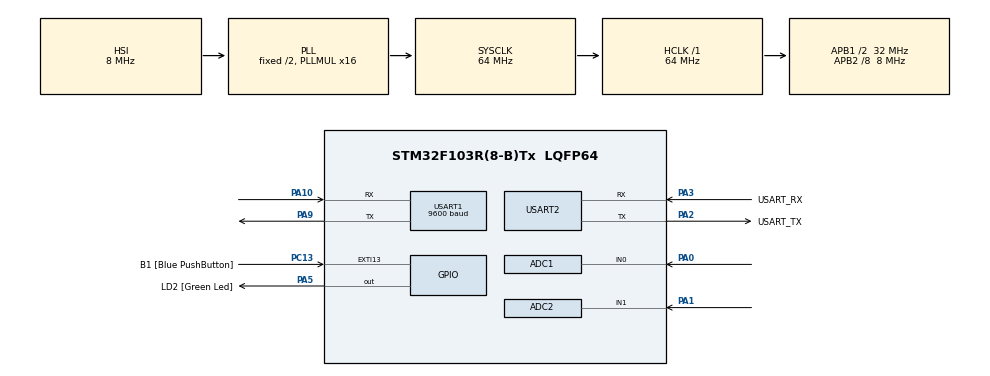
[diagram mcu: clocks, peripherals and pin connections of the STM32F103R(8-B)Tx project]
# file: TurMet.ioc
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ADC1.Channel-0\#ChannelRegularConversion=ADC_CHANNEL_0
ADC1.ContinuousConvMode=ENABLE
ADC1.NbrOfConversionFlag=1
ADC1.Rank-0\#ChannelRegularConversion=1
ADC1.SamplingTime-0\#ChannelRegularConversion=ADC_SAMPLETIME_1CYCLE_5
ADC1.master=1
ADC2.Channel-0\#ChannelRegularConversion=ADC_CHANNEL_1
ADC2.ContinuousConvMode=ENABLE
ADC2.NbrOfConversionFlag=1
ADC2.Rank-0\#ChannelRegularConversion=1
ADC2.SamplingTime-0\#ChannelRegularConversion=ADC_SAMPLETIME_1CYCLE_5
Mcu.Family=STM32F1
Mcu.Name=STM32F103R(8-B)Tx
Mcu.Package=LQFP64
NVIC.ADC1_2_IRQn=true\:0\:0\:false
NVIC.PriorityGroup=NVIC_PRIORITYGROUP_4
NVIC.USART1_IRQn=true\:0\:0\:false
PA0-WKUP.Signal=ADCx_IN0
PA1.Signal=ADCx_IN1
PA10.Mode=Asynchronous
PA10.Signal=USART1_RX
PA13.GPIO_Label=TMS
PA13.Mode=Trace_Asynchronous_SW
PA13.Signal=SYS_JTMS-SWDIO
PA14.GPIO_Label=TCK
PA14.Mode=Trace_Asynchronous_SW
PA14.Signal=SYS_JTCK-SWCLK
PA2.GPIO_Label=USART_TX
PA2.GPIO_Mode=GPIO_MODE_AF_PP
PA2.GPIO_PuPd=GPIO_NOPULL
PA2.GPIO_Speed=GPIO_SPEED_LOW
PA2.Mode=Asynchronous
PA2.Signal=USART2_TX
PA3.GPIO_Label=USART_RX
PA3.GPIO_Mode=GPIO_MODE_AF_PP
PA3.GPIO_PuPd=GPIO_NOPULL
PA3.GPIO_Speed=GPIO_SPEED_LOW
PA3.Mode=Asynchronous
PA3.Signal=USART2_RX
PA5.GPIO_Label=LD2 [Green Led]
PA5.GPIO_ModeDefaultOutputPP=GPIO_MODE_OUTPUT_PP
PA5.GPIO_PuPd=GPIO_NOPULL
PA5.GPIO_Speed=GPIO_SPEED_LOW
PA5.Signal=GPIO_Output
PA9.Mode=Asynchronous
PA9.Signal=USART1_TX
PB3.GPIO_Label=SWO
PB3.Mode=Trace_Asynchronous_SW
PB3.Signal=SYS_JTDO-TRACESWO
PC13-TAMPER-RTC.GPIO_Label=B1 [Blue PushButton]
PC13-TAMPER-RTC.GPIO_ModeDefaultEXTI=GPIO_MODE_EVT_RISING
PC13-TAMPER-RTC.GPIO_PuPd=GPIO_NOPULL
PC13-TAMPER-RTC.Signal=GPXTI13
PC14-OSC32_IN.Signal=RCC_OSC32_IN
PC15-OSC32_OUT.Signal=RCC_OSC32_OUT
PD0-OSC_IN.Signal=RCC_OSC_IN
PD1-OSC_OUT.Signal=RCC_OSC_OUT
ProjectManager.TargetToolchain=MDK-ARM V5
RCC.AHBFreq_Value=64000000
RCC.APB1CLKDivider=RCC_HCLK_DIV2
RCC.APB1Freq_Value=32000000
RCC.APB1TimFreq_Value=64000000
RCC.APB2CLKDivider=RCC_HCLK_DIV8
RCC.APB2Freq_Value=8000000
RCC.APB2TimFreq_Value=16000000
RCC.HCLKFreq_Value=64000000
RCC.PLLMUL=RCC_PLL_MUL16
RCC.SYSCLKFreq_VALUE=64000000
RCC.SYSCLKSource=RCC_SYSCLKSOURCE_PLLCLK
RCC.USBFreq_Value=64000000
SH.ADCx_IN0.0=ADC1_IN0,IN0
SH.ADCx_IN1.0=ADC2_IN1,IN1
USART1.BaudRate=9600
VP_IWDG_VS_IWDG.Mode=IWDG_Activate
board=NUCLEO-F103RB

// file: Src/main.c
/**
  ******************************************************************************
  * File Name          : main.c
  * Description        : Main program body
  ******************************************************************************
  *
  * COPYRIGHT(c) 2015 STMicroelectronics
  *
  * Redistribution and use in source and binary forms, with or without modification,
  * are permitted provided that the following conditions are met:
  *   1. Redistributions of source code must retain the above copyright notice,
  *      this list of conditions and the following disclaimer.
  *   2. Redistributions in binary form must reproduce the above copyright notice,
  *      this list of conditions and the following disclaimer in the documentation
  *      and/or other materials provided with the distribution.
  *   3. Neither the name of STMicroelectronics nor the names of its contributors
  *      may be used to endorse or promote products derived from this software
  *      without specific prior written permission.
  *
  * THIS SOFTWARE IS PROVIDED BY THE COPYRIGHT HOLDERS AND CONTRIBUTORS "AS IS"
  * AND ANY EXPRESS OR IMPLIED WARRANTIES, INCLUDING, BUT NOT LIMITED TO, THE
  * IMPLIED WARRANTIES OF MERCHANTABILITY AND FITNESS FOR A PARTICULAR PURPOSE ARE
  * DISCLAIMED. IN NO EVENT SHALL THE COPYRIGHT HOLDER OR CONTRIBUTORS BE LIABLE
  * FOR ANY DIRECT, INDIRECT, INCIDENTAL, SPECIAL, EXEMPLARY, OR CONSEQUENTIAL
  * DAMAGES (INCLUDING, BUT NOT LIMITED TO, PROCUREMENT OF SUBSTITUTE GOODS OR
  * SERVICES; LOSS OF USE, DATA, OR PROFITS; OR BUSINESS INTERRUPTION) HOWEVER
  * CAUSED AND ON ANY THEORY OF LIABILITY, WHETHER IN CONTRACT, STRICT LIABILITY,
  * OR TORT (INCLUDING NEGLIGENCE OR OTHERWISE) ARISING IN ANY WAY OUT OF THE USE
  * OF THIS SOFTWARE, EVEN IF ADVISED OF THE POSSIBILITY OF SUCH DAMAGE.
  *
  ******************************************************************************
  */
#include "stm32f1xx_hal.h"
#include "adc.h"
#include "iwdg.h"
#include "usart.h"
#include "gpio.h"
#include <string.h>

/* USER CODE BEGIN Includes */
#include "C:\Users\Impulse\Documents\TurMet\MDK-ARM\globalvariables.h"
/* USER CODE END Includes */

/* USER CODE BEGIN PV */
/* Private variables ---------------------------------------------------------*/

/* USER CODE END PV */

void SystemClock_Config(void);

/* USER CODE BEGIN PFP */
/* Private function prototypes -----------------------------------------------*/

/* USER CODE END PFP */

/* USER CODE BEGIN 0 */
void sendLog(uint8_t* message)
{
	HAL_UART_Transmit(&huart2, message, strlen(message), 10);
}

void sendBT(uint8_t* message)
{
	HAL_UART_Transmit(&huart1, message, strlen(message), 10);
}

char *itoa(int i)
{
  static char buffer[12];

  if (snprintf(buffer, sizeof(buffer), "%d", i) < 0)
    return NULL;

  return buffer;
}

/* USER CODE END 0 */

int main(void)
{

  /* USER CODE BEGIN 1 */
	//																					---INITIALIZING GLOBAL VARIABLES---

	unsigned char messageBuffer[10] = {0};
  /* USER CODE END 1 */

  /* MCU Configuration----------------------------------------------------------*/

  /* Reset of all peripherals, Initializes the Flash interface and the Systick. */
  HAL_Init();

  /* Configure the system clock */
  SystemClock_Config();

  /* Initialize all configured peripherals */
  MX_GPIO_Init();
  MX_ADC1_Init();
  MX_ADC2_Init();
  MX_IWDG_Init();
  MX_USART1_UART_Init();
  MX_USART2_UART_Init();

	sendLog("Ready\r\n");
	sendBT("Ready\r\n");
  /* USER CODE BEGIN 2 */
	//																									---ENABLING ADC , USART AND WATCHDOG---
	HAL_ADC_Start_IT(&hadc1);
	HAL_ADC_Start_IT(&hadc2);
	HAL_UART_Receive_IT(&huart1, messageBuffer, 10);
	HAL_IWDG_Start(&hiwdg);

  /* USER CODE END 2 */
	sendLog("ADC activated\r\n");
  /* Infinite loop */
  /* USER CODE BEGIN WHILE */
  while (1)
  {

		HAL_IWDG_Refresh(&hiwdg);
		HAL_Delay(200);
		HAL_IWDG_Refresh(&hiwdg);
		HAL_Delay(200);
		HAL_ADC_Stop_IT(&hadc1);
		HAL_ADC_Stop_IT(&hadc2);
  /* USER CODE END WHILE */

  /* USER CODE BEGIN 3 */
		HAL_IWDG_Refresh(&hiwdg);
		while(!activated)
		{
			HAL_IWDG_Refresh(&hiwdg);
			HAL_Delay(10);
		}
		sendLog("A -> ");
		sendLog(itoa(averageA()));
		sendLog(" B -> ");
		sendLog(itoa(averageB()));
		sendLog("       \r\n");
		HAL_IWDG_Refresh(&hiwdg);
		sendBT("A -> ");
		sendBT(itoa(averageA()));
		sendBT(" B -> ");
		sendBT(itoa(averageB()));
		sendBT("       \r\n");

		HAL_IWDG_Refresh(&hiwdg);
		HAL_ADC_Start_IT(&hadc1);
		HAL_ADC_Start_IT(&hadc2);

  }
  /* USER CODE END 3 */

}

/** System Clock Configuration
*/
void SystemClock_Config(void)
{

  RCC_OscInitTypeDef RCC_OscInitStruct;
  RCC_ClkInitTypeDef RCC_ClkInitStruct;
  RCC_PeriphCLKInitTypeDef PeriphClkInit;

  RCC_OscInitStruct.OscillatorType = RCC_OSCILLATORTYPE_HSI|RCC_OSCILLATORTYPE_LSI;
  RCC_OscInitStruct.HSIState = RCC_HSI_ON;
  RCC_OscInitStruct.HSICalibrationValue = 16;
  RCC_OscInitStruct.LSIState = RCC_LSI_ON;
  RCC_OscInitStruct.PLL.PLLState = RCC_PLL_ON;
  RCC_OscInitStruct.PLL.PLLSource = RCC_PLLSOURCE_HSI_DIV2;
  RCC_OscInitStruct.PLL.PLLMUL = RCC_PLL_MUL16;
  HAL_RCC_OscConfig(&RCC_OscInitStruct);

  RCC_ClkInitStruct.ClockType = RCC_CLOCKTYPE_SYSCLK|RCC_CLOCKTYPE_PCLK1
                              |RCC_CLOCKTYPE_PCLK2;
  RCC_ClkInitStruct.SYSCLKSource = RCC_SYSCLKSOURCE_PLLCLK;
  RCC_ClkInitStruct.AHBCLKDivider = RCC_SYSCLK_DIV1;
  RCC_ClkInitStruct.APB1CLKDivider = RCC_HCLK_DIV2;
  RCC_ClkInitStruct.APB2CLKDivider = RCC_HCLK_DIV8;
  HAL_RCC_ClockConfig(&RCC_ClkInitStruct, FLASH_LATENCY_2);

  PeriphClkInit.PeriphClockSelection = RCC_PERIPHCLK_ADC;
  PeriphClkInit.AdcClockSelection = RCC_ADCPCLK2_DIV2;
  HAL_RCCEx_PeriphCLKConfig(&PeriphClkInit);

  HAL_SYSTICK_Config(HAL_RCC_GetHCLKFreq()/1000);

  HAL_SYSTICK_CLKSourceConfig(SYSTICK_CLKSOURCE_HCLK);

  /* SysTick_IRQn interrupt configuration */
  HAL_NVIC_SetPriority(SysTick_IRQn, 0, 0);
}

/************************ (C) COPYRIGHT STMicroelectronics *****END OF FILE****/
